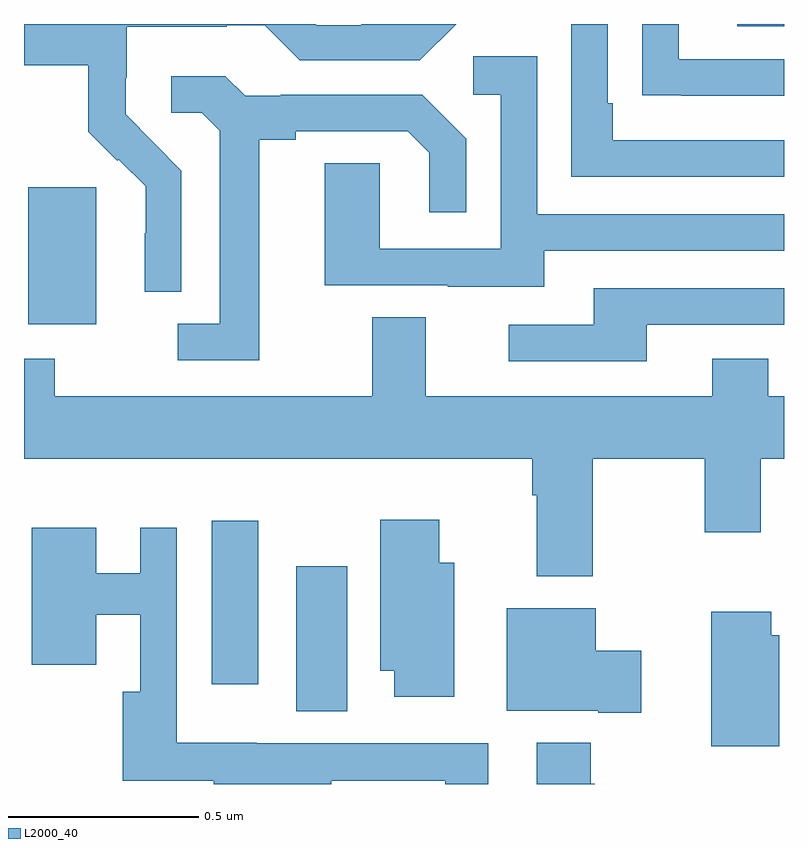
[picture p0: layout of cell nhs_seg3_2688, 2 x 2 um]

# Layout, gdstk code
import gdstk
lib = gdstk.Library(unit=1e-6, precision=1e-09)
def R(c, l, rs):  # rectangles x0, y0, x1, y1
    for r in rs: c.add(gdstk.rectangle(r[:2], r[2:], *l))
def P(c, l, *ps):  # polygons
    for p in ps: c.add(gdstk.Polygon(p, *l))
L2000_40 = (2000, 40)

nhs_seg3_2688 = lib.new_cell('nhs_seg3_2688')
R(nhs_seg3_2688, L2000_40, [(144.716,693.592,144.85,693.973), (144.494,693.663,144.616,694.093), (144.011,694.61,144.19,694.971), (145.877,695.394,146,695.4)])
P(nhs_seg3_2688, L2000_40, [(146,695.307),(145.723,695.307),(145.723,695.4),(145.627,695.4),(145.627,695.212),(145.729,695.212),(145.729,695.211),(146,695.211)],
  [(146,695.094),(145.549,695.094),(145.549,695.191),(145.536,695.191),(145.536,695.4),(145.44,695.4),(145.44,694.998),(146,694.998)],
  [(144.414,695.014),(144.341,695.087),(144.342,695.088),(144.268,695.162),(144.268,695.259),(144.27,695.259),(144.27,695.393),(144.533,695.393),(144.533,695.397),(144.633,695.397),(144.726,695.304),(145.041,695.304),(145.137,695.4),(144.887,695.4),(144.887,695.397),(144.771,695.397),(144.768,695.4),(144,695.4),(144,695.292),(144.169,695.292),(144.169,695.117),(144.246,695.04),(144.249,695.043),(144.32,694.973),(144.32,694.85),(144.318,694.85),(144.318,694.696),(144.414,694.696)],
  [(145.369,694.803),(146,694.803),(146,694.899),(145.35,694.899),(145.35,695.315),(145.182,695.315),(145.182,695.214),(145.254,695.214),(145.254,694.809),(144.936,694.809),(144.936,695.033),(144.791,695.033),(144.791,694.713),(145.115,694.713),(145.115,694.709),(145.369,694.709)],
  [(144.619,695.096),(144.715,695.096),(144.715,695.118),(145.01,695.118),(145.067,695.061),(145.067,694.905),(145.164,694.905),(145.164,695.098),(145.048,695.214),(144.676,695.214),(144.676,695.211),(144.582,695.211),(144.53,695.263),(144.387,695.263),(144.387,695.166),(144.468,695.166),(144.515,695.119),(144.515,694.611),(144.405,694.611),(144.405,694.515),(144.619,694.515)],
  [(145.639,694.608),(146,694.608),(146,694.704),(145.499,694.704),(145.499,694.608),(145.275,694.608),(145.275,694.512),(145.639,694.512)],
  [(145.811,694.42),(145.057,694.42),(145.057,694.628),(144.917,694.628),(144.917,694.42),(144.081,694.42),(144.081,694.519),(144,694.519),(144,694.256),(145.337,694.256),(145.337,694.16),(145.349,694.16),(145.349,693.947),(145.497,693.947),(145.497,694.256),(145.792,694.256),(145.792,694.062),(145.939,694.062),(145.939,694.256),(146,694.256),(146,694.42),(145.959,694.42),(145.959,694.519),(145.811,694.519)],
  [(145.132,693.982),(145.093,693.982),(145.093,694.096),(144.938,694.096),(144.938,693.698),(144.974,693.698),(144.974,693.63),(145.132,693.63)],
  [(144.809,693.409),(145.109,693.409),(145.109,693.4),(145.222,693.4),(145.222,693.507),(144.612,693.507),(144.612,693.508),(144.402,693.508),(144.402,694.075),(144.306,694.075),(144.306,693.955),(144.19,693.955),(144.19,694.075),(144.02,694.075),(144.02,693.714),(144.19,693.714),(144.19,693.845),(144.306,693.845),(144.306,693.643),(144.26,693.643),(144.26,693.409),(144.499,693.409),(144.499,693.4),(144.809,693.4)],
  [(145.624,693.751),(145.504,693.751),(145.504,693.862),(145.271,693.862),(145.271,693.593),(145.511,693.593),(145.511,693.587),(145.624,693.587)],
  [(145.987,693.792),(145.966,693.792),(145.966,693.853),(145.808,693.853),(145.808,693.5),(145.987,693.5)],
  [(145.502,693.401),(145.492,693.401),(145.492,693.508),(145.349,693.508),(145.349,693.4),(145.502,693.4)])

lib.write_gds('nhs_seg3_2688.gds')
